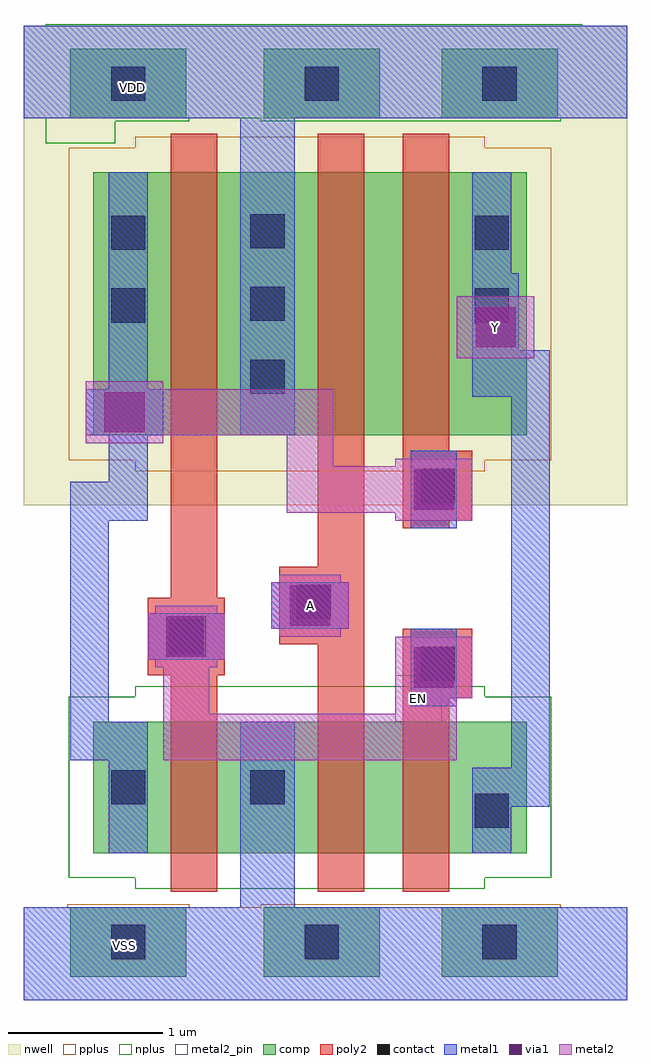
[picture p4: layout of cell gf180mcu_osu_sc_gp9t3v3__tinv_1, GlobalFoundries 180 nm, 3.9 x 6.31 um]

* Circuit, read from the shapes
.subckt gf180mcu_osu_sc_gp9t3v3__tinv_1 A EN VDD VSS Y
XM1 VSS EN n1 VSS nfet_03v3 w=0.85u l=0.3u
XM2 n2 A VSS VSS nfet_03v3 w=0.85u l=0.3u
XM3 Y EN n2 VSS nfet_03v3 w=0.85u l=0.3u
XM4 VDD EN n1 VDD pfet_03v3 w=1.7u l=0.3u
XM5 n3 A VDD VDD pfet_03v3 w=1.7u l=0.3u
XM6 Y n1 n3 VDD pfet_03v3 w=1.7u l=0.3u
.ends

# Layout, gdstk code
import gdstk
lib = gdstk.Library(unit=1e-6, precision=1e-09)
def R(c, l, rs):  # rectangles x0, y0, x1, y1
    for r in rs: c.add(gdstk.rectangle(r[:2], r[2:], *l))
def A(c, l, x, y, w, h, nx, ny, dx, dy):  # array of equal rectangles
    R(c, l, [(x+i*dx, y+j*dy, x+i*dx+w, y+j*dy+h) for i in range(nx) for j in range(ny)])
nwell = (21, 0)
comp = (22, 0)
poly2 = (30, 0)
pplus = (31, 0)
nplus = (32, 0)
contact = (33, 0)
metal1 = (34, 0)
via1 = (35, 0)
metal2 = (36, 0)
metal2_pin = (36, 10)

gf180mcu_osu_sc_gp9t3v3_ = lib.new_cell('gf180mcu_osu_sc_gp9t3v3__tinv_1')
R(gf180mcu_osu_sc_gp9t3v3_, nwell, [(0,3.2,3.9,6.3)])
R(gf180mcu_osu_sc_gp9t3v3_, comp, [(0.3,0.15,1.05,0.6), (1.55,0.15,2.3,0.6), (2.7,0.15,3.45,0.6), (0.45,0.95,3.25,1.8), (0.45,3.65,3.25,5.35), (0.3,5.7,1.05,6.15), (1.55,5.7,2.3,6.15), (2.7,5.7,3.45,6.15)])
R(gf180mcu_osu_sc_gp9t3v3_, poly2, [(0.95,0.7,1.25,2.1), (1.9,0.7,2.2,2.3), (2.45,0.7,2.75,1.95), (2.45,1.95,2.9,2.4), (0.8,2.1,1.3,2.6), (1.65,2.3,2.2,2.8), (0.95,2.6,1.25,5.6), (1.9,2.8,2.2,5.6), (2.45,3.05,2.75,3.1), (2.45,3.1,2.9,3.55), (2.45,3.55,2.75,5.6)])
R(gf180mcu_osu_sc_gp9t3v3_, pplus, [(0,0,3.9,0.6), (0.28,0.13,1.07,0.62), (1.53,0.13,3.47,0.62), (0.72,3.42,2.98,3.49), (0.29,3.49,3.41,5.51), (0.72,5.51,2.98,5.58)])
R(gf180mcu_osu_sc_gp9t3v3_, nplus, [(0.72,0.72,2.98,0.79), (0.29,0.79,3.41,1.96), (0.72,1.96,2.98,2.03), (0.14,5.54,0.59,5.68), (0.14,5.68,1.07,5.7), (1.53,5.68,3.47,5.7), (0,5.7,3.9,6.3), (0,5.7,3.9,6.3), (0.14,6.3,3.61,6.31)])
A(gf180mcu_osu_sc_gp9t3v3_, contact, 1.465, 3.92, 0.22, 0.22, 1, 3, 0, 0.47)
R(gf180mcu_osu_sc_gp9t3v3_, contact, [(0.565,0.265,0.785,0.485), (1.815,0.265,2.035,0.485), (2.965,0.265,3.185,0.485), (2.915,1.115,3.135,1.335), (0.565,1.265,0.785,1.485), (1.465,1.265,1.685,1.485), (2.565,2.065,2.785,2.285), (0.94,2.24,1.16,2.46), (1.765,2.465,1.985,2.685), (2.565,3.215,2.785,3.435), (0.565,4.38,0.785,4.6), (2.915,4.38,3.135,4.6), (0.565,4.85,0.785,5.07), (2.915,4.85,3.135,5.07), (0.565,5.815,0.785,6.035), (1.815,5.815,2.035,6.035), (2.965,5.815,3.185,6.035)])
R(gf180mcu_osu_sc_gp9t3v3_, metal1, [(0,0,3.9,0.6), (1.4,0.6,1.75,1.8), (0.55,0.95,0.8,1.55), (2.9,0.95,3.15,1.25), (2.9,1.25,3.4,1.5), (3.15,1.5,3.4,3.9), (0.3,1.55,0.8,1.8), (0.3,1.8,0.55,3.1), (2.5,1.9,2.8,2.4), (0.8,2.2,1.3,2.5), (1.6,2.4,2.1,2.7), (2.5,3.05,2.8,3.55), (0.3,3.1,0.8,3.35), (0.55,3.35,0.8,3.65), (0.4,3.65,0.9,3.95), (1.4,3.65,1.75,5.7), (2.9,3.9,3.4,4.2), (0.55,3.95,0.8,5.35), (2.9,4.2,3.2,4.7), (2.9,4.7,3.15,5.35), (0,5.7,3.9,6.3)])
R(gf180mcu_osu_sc_gp9t3v3_, via1, [(2.52,2.02,2.78,2.28), (0.92,2.22,1.18,2.48), (1.72,2.42,1.98,2.68), (2.52,3.17,2.78,3.43), (0.52,3.67,0.78,3.93), (2.92,4.22,3.18,4.48)])
R(gf180mcu_osu_sc_gp9t3v3_, metal2, [(0.9,1.55,2.8,1.85), (0.9,1.85,1.2,2.15), (2.4,1.85,2.8,1.95), (2.4,1.95,2.9,2.35), (0.85,2.15,1.25,2.2), (0.8,2.2,1.3,2.5), (1.65,2.35,2.05,2.4), (1.6,2.4,2.1,2.7), (0.85,2.5,1.25,2.55), (1.65,2.7,2.05,2.75), (2.4,3.1,2.9,3.15), (1.7,3.15,2.9,3.45), (1.7,3.45,2,3.65), (2.4,3.45,2.9,3.5), (0.4,3.6,0.9,3.65), (0.4,3.65,2,3.95), (0.4,3.95,0.9,4), (2.8,4.15,3.3,4.55)])
R(gf180mcu_osu_sc_gp9t3v3_, metal2_pin, [(2.4,1.8,2.7,2.1)])
gf180mcu_osu_sc_gp9t3v3_.add(gdstk.Label('VDD', (0.7,5.9), layer=22, texttype=0))
gf180mcu_osu_sc_gp9t3v3_.add(gdstk.Label('VSS', (0.65,0.35), layer=22, texttype=0))
gf180mcu_osu_sc_gp9t3v3_.add(gdstk.Label('A', (1.85,2.55), layer=36, texttype=10))
gf180mcu_osu_sc_gp9t3v3_.add(gdstk.Label('EN', (2.55,1.95), layer=36, texttype=10))
gf180mcu_osu_sc_gp9t3v3_.add(gdstk.Label('Y', (3.05,4.35), layer=36, texttype=10))

lib.write_gds('gf180mcu_osu_sc_gp9t3v3__tinv_1.gds')
